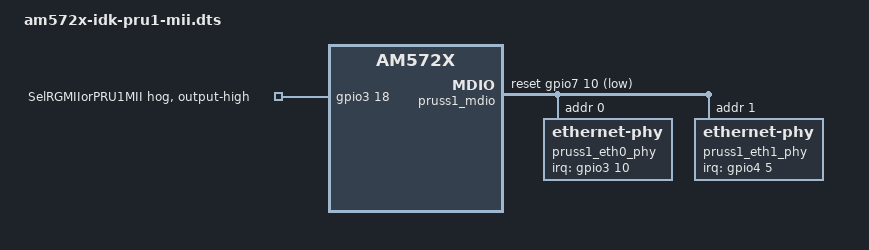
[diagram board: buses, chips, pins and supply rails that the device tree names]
/*
 * Copyright (C) 2015-2016 Texas Instruments Incorporated - http://www.ti.com/
 *
 * This program is free software; you can redistribute it and/or modify
 * it under the terms of the GNU General Public License version 2 as
 * published by the Free Software Foundation.
 */

#include "am572x-idk.dts"

/ {
	aliases {
		ethernet2 = &pruss1_emac0;
		ethernet3 = &pruss1_emac1;
		ethernet4 = &pruss2_emac0;
		ethernet5 = &pruss2_emac1;
	};

	/* Dual mac ethernet application node on icss1 */
	pruss1_eth: pruss1_eth {
		status = "okay";
		compatible = "ti,am57-prueth";
		pruss = <&pruss1>;
		sram = <&ocmcram1>;
		interrupt-parent = <&pruss1_intc>;

		pruss1_emac0: ethernet-mii0 {
			phy-handle = <&pruss1_eth0_phy>;
			phy-mode = "mii";
			interrupts = <20>, <22>;
			interrupt-names = "rx", "tx";
			/* Filled in by bootloader */
			local-mac-address = [00 00 00 00 00 00];
		};

		pruss1_emac1: ethernet-mii1 {
			phy-handle = <&pruss1_eth1_phy>;
			phy-mode = "mii";
			interrupts = <21>, <23>;
			interrupt-names = "rx", "tx";
			/* Filled in by bootloader */
			local-mac-address = [00 00 00 00 00 00];
		};
	};
};

&dra7_pmx_core {
	pru1_mii_pins_default: pru1_mii_pins_default {
		pinctrl-single,pins = <
			DRA7XX_CORE_IOPAD(0x3668, (PIN_INPUT_PULLDOWN | MUX_MODE11)) /* rgmii0_rxc.pr1_mii_mt_clk (U5)*/
			DRA7XX_CORE_IOPAD(0x3674, (PIN_INPUT_PULLDOWN | MUX_MODE11)) /* rgmii0_rxd2.pr1_mii0_txen (V3) */
			DRA7XX_CORE_IOPAD(0x367c, (PIN_INPUT_PULLDOWN | MUX_MODE11)) /* rgmii0_rxd0.pr1_mii0_txd0 (W2) */
			DRA7XX_CORE_IOPAD(0x3678, (PIN_INPUT_PULLDOWN | MUX_MODE11)) /* rgmii0_rxd1.pr1_mii0_txd1 (Y2) */
			DRA7XX_CORE_IOPAD(0x3670, (PIN_INPUT_PULLDOWN | MUX_MODE11)) /* rgmii0_rxd3.pr1_mii0_txd2 (V4) */
			DRA7XX_CORE_IOPAD(0x366c, (PIN_INPUT_PULLDOWN | MUX_MODE11)) /* rgmii0_rxctl.pr1_mii0_txd3 (V5) */
			DRA7XX_CORE_IOPAD(0x364c, (PIN_INPUT_PULLDOWN | MUX_MODE11)) /* uart3_txd.pr1_mii_mr0_clk (Y1) */
			DRA7XX_CORE_IOPAD(0x3648, (PIN_INPUT_PULLDOWN | MUX_MODE11)) /* uart3_rxd.pr1_mii0_rxdv (V2) */
			DRA7XX_CORE_IOPAD(0x365c, (PIN_INPUT_PULLDOWN | MUX_MODE11)) /* rgmii0_txd2.pr1_mii0_rxer (U7) */
			DRA7XX_CORE_IOPAD(0x3658, (PIN_INPUT_PULLDOWN | MUX_MODE11)) /* rgmii0_txd3.pr1_mii0_crs (V7) */
			DRA7XX_CORE_IOPAD(0x363c, (PIN_INPUT_PULLUP | MUX_MODE11)) /* mdio_mclk.pr1_mii0_col (V1) */
			DRA7XX_CORE_IOPAD(0x3640, (PIN_INPUT_PULLDOWN | MUX_MODE11)) /* mdio_d.pr1_mii0_rxlink (U4) */
			DRA7XX_CORE_IOPAD(0x3664, (PIN_INPUT_PULLUP | MUX_MODE11)) /* rgmii0_txd0.pr1_mii0_rxd0 (U6) */
			DRA7XX_CORE_IOPAD(0x3660, (PIN_INPUT_PULLUP | MUX_MODE11)) /* rgmii0_txd1.pr1_mii0_rxd1 (V6) */
			DRA7XX_CORE_IOPAD(0x3654, (PIN_INPUT_PULLUP | MUX_MODE11)) /* rgmii0_txctl.pr1_mii0_rxd2 (V9) */
			DRA7XX_CORE_IOPAD(0x3650, (PIN_INPUT_PULLUP | MUX_MODE11)) /* rgmii0_txc.pr1_mii0_rxd3 (W9) */

			DRA7XX_CORE_IOPAD(0x3580, (PIN_INPUT_PULLDOWN | MUX_MODE11)) /* vin2a_d6.pr1_mii_mt1_clk (C1) */
			DRA7XX_CORE_IOPAD(0x3584, (PIN_INPUT_PULLDOWN | MUX_MODE11)) /* vin2a_d7.pr1_mii1_txen (E4) */
			DRA7XX_CORE_IOPAD(0x3588, (PIN_INPUT_PULLDOWN | MUX_MODE11)) /* vin2a_d8.pr1_mii1_txd3 (F5) */
			DRA7XX_CORE_IOPAD(0x358c, (PIN_INPUT_PULLDOWN | MUX_MODE11)) /* vin2a_d9.pr1_mii1_txd2 (E6) */
			DRA7XX_CORE_IOPAD(0x3590, (PIN_INPUT_PULLUP | MUX_MODE11)) /* vin2a_d10.pr1_mdio_mdclk (D3) */
			DRA7XX_CORE_IOPAD(0x3594, (PIN_INPUT_PULLUP | MUX_MODE11)) /* vin2a_d11,pr1_mdio_data (F6) */
			DRA7XX_CORE_IOPAD(0x3598, (PIN_INPUT_PULLDOWN | MUX_MODE11)) /* vin2a_d12.pr1_mii1_txd1 (D5) */
			DRA7XX_CORE_IOPAD(0x359c, (PIN_INPUT_PULLDOWN | MUX_MODE11)) /* vin2a_d13.pr1_mii1_txd0 (C2) */
			DRA7XX_CORE_IOPAD(0x35a0, (PIN_INPUT_PULLDOWN | MUX_MODE11)) /* vin2a_d14.pr1_mii_mr1_clk (C3) */
			DRA7XX_CORE_IOPAD(0x35a4, (PIN_INPUT_PULLDOWN | MUX_MODE11)) /* vin2a_d15.pr1_mii1_rxdv (C4) */
			DRA7XX_CORE_IOPAD(0x35a8, (PIN_INPUT_PULLUP | MUX_MODE11)) /* vin2a_d16.pr1_mii1_rxd3 (B2) */
			DRA7XX_CORE_IOPAD(0x35ac, (PIN_INPUT_PULLUP | MUX_MODE11)) /* vin2a_d17.pr1_mii1_rxd2 (D6) */
			DRA7XX_CORE_IOPAD(0x35b0, (PIN_INPUT_PULLUP | MUX_MODE11)) /* vin2a_d18.pr1_mii1_rxd1 (C5) */
			DRA7XX_CORE_IOPAD(0x35b4, (PIN_INPUT_PULLUP | MUX_MODE11)) /* vin2a_d19.pr1_mii1_rxd0 (A3) */
			DRA7XX_CORE_IOPAD(0x35b8, (PIN_INPUT_PULLDOWN | MUX_MODE11)) /* vin2a_d20.pr1_mii1_rxer (B3) */
			DRA7XX_CORE_IOPAD(0x35bc, (PIN_INPUT_PULLDOWN | MUX_MODE11)) /* vin2a_d21.pr1_mii1_rxlink (B4) */
			DRA7XX_CORE_IOPAD(0x35c0, (PIN_INPUT_PULLUP | MUX_MODE11)) /* vin2a_d22.pr1_mii1_col (B5) */
			DRA7XX_CORE_IOPAD(0x35c4, (PIN_INPUT_PULLDOWN | MUX_MODE11)) /* vin2a_d23.pr1_mii1_crs (A4) */
		>;
	};
};

/* gpio3_18 use to select the rgmii or pruss1 mii */
&gpio3 {
	status = "okay";

	p18 {
		gpio-hog;
		gpios = <18 GPIO_ACTIVE_HIGH>;
		output-high;
		line-name = "SelRGMIIorPRU1MII";
	};
};

&mac {
	status = "disable";
};

&pruss1_mdio {
	status = "okay";

	reset-gpios = <&gpio7 10 GPIO_ACTIVE_LOW>,
			<&gpio2 30 GPIO_ACTIVE_LOW>;
	reset-delay-us = <2>;   /* PHY datasheet states 1uS min */

	pinctrl-names = "default";
	pinctrl-0 = <&pru1_mii_pins_default>;

	pruss1_eth0_phy: ethernet-phy@0 {
		reg = <0>;
		interrupt-parent = <&gpio3>;
		interrupts = <10 IRQ_TYPE_EDGE_FALLING>;
	};

	pruss1_eth1_phy: ethernet-phy@1 {
		reg = <1>;
		interrupt-parent = <&gpio4>;
		interrupts = <5 IRQ_TYPE_EDGE_FALLING>;
	};
};
